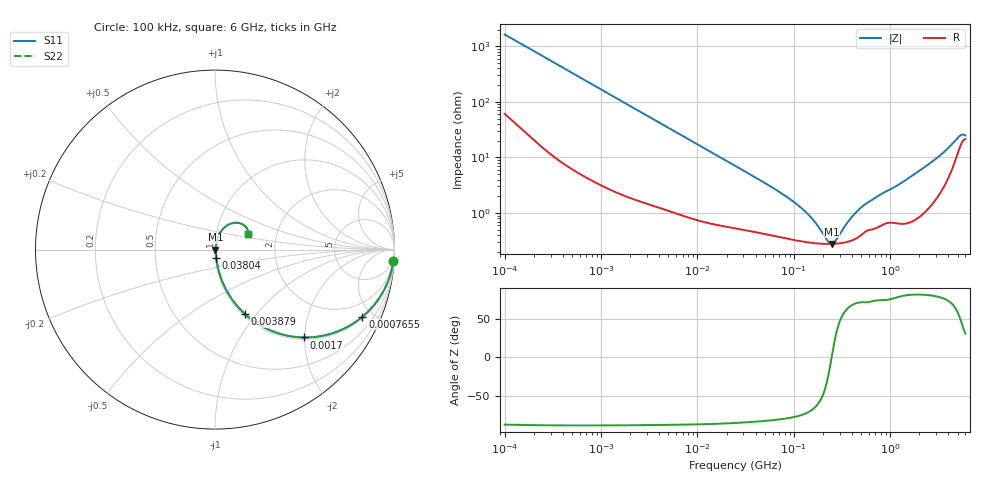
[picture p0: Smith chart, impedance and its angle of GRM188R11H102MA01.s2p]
!Murata Part Number: GRM188R11H102MA01
!These Parameters are Measured in Series Mode Connection
!Data Generated on Mar 30, 2021
!  o--ll--o
!Port1  Port2
!  o------o
!Operation Temp=25[degC], DC Bias Voltage=0[V]
!Freq. Start=100[kHz] Stop=6[GHz] 401[Steps]
# Hz S RI R 50
!Freq.(Hz) S11(Real) S11(Imag) S21(Real) S21(Imag) S12(Real) S12(Imag) S22(Real) S22(Imag)
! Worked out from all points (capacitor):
!   401 points, 100 kHz to 6 GHz, reference 50 ohm
!   read as one part in series: C = 970 pF near 105.7 kHz
!   lowest |Z| = 278 mohm at 246.9 MHz (marker M1)
!   series resonance near 246.3 MHz, so ESL is about 430 pH
!   S11 on the Smith chart (normalised r, x): 100 kHz: 2, -33; 765.5 kHz: 1.08, -4.36; 1.7 MHz: 1.04, -1.98; 3.879 MHz: 1.03, -0.87; 38.04 MHz: 1.01, -0.09; 6 GHz: 1.43, +0.25
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100000  0.994 -0.0608  0.006 0.0608  0.006 0.0608  0.994 -0.0608
261871  0.9724 -0.1533  0.0276 0.1533  0.0276 0.1533  0.9724 -0.1533
631452  0.8699 -0.3274  0.1301 0.3274  0.1301 0.3274  0.8699 -0.3274
765523  0.8216 -0.3738  0.1784 0.3738  0.1784 0.3738  0.8216 -0.3738
1188732  0.662 -0.4635  0.338 0.4635  0.338 0.4635  0.662 -0.4635
1699707  0.4943 -0.4896  0.5057 0.4896  0.5057 0.4896  0.4943 -0.4896
3879139  0.1675 -0.3593  0.8325 0.3593  0.8325 0.3593  0.1675 -0.3593
3987316  0.1605 -0.3527  0.8395 0.3527  0.8395 0.3527  0.1605 -0.3527
8151931  0.0494 -0.1981  0.9506 0.1981  0.9506 0.1981  0.0494 -0.1981
2.517799e7  0.00985 -0.0677  0.9902 0.0677  0.9902 0.0677  0.00985 -0.0677
3.80366e7  0.00661 -0.045  0.9934 0.045  0.9934 0.045  0.00661 -0.045
9.171783e7  0.00364 -0.0171  0.9964 0.0171  0.9964 0.0171  0.00364 -0.0171
1.546735e8  0.00294 -0.00731  0.9971 0.00731  0.9971 0.00731  0.00294 -0.00731
2.211596e8  0.00277 -0.00165  0.9972 0.00165  0.9972 0.00165  0.00277 -0.00165
2.468808e8  0.00277 3.39e-05  0.9972 -3.39e-05  0.9972 -3.39e-05  0.00277 3.39e-05
2.681165e8  0.00279 0.00131  0.9972 -0.00131  0.9972 -0.00131  0.00279 0.00131
3.628463e8  0.00307 0.00617  0.9969 -0.00617  0.9969 -0.00617  0.00307 0.00617
4.777233e8  0.0039 0.0111  0.9961 -0.0111  0.9961 -0.0111  0.0039 0.0111
9.76689e8  0.00726 0.0249  0.9927 -0.0249  0.9927 -0.0249  0.00726 0.0249
3.367428e9  0.035 0.1039  0.965 -0.1039  0.965 -0.1039  0.035 0.1039
5.087202e9  0.14 0.1466  0.86 -0.1466  0.86 -0.1466  0.14 0.1466
6e9  0.1849 0.0853  0.8151 -0.0853  0.8151 -0.0853  0.1849 0.0853
